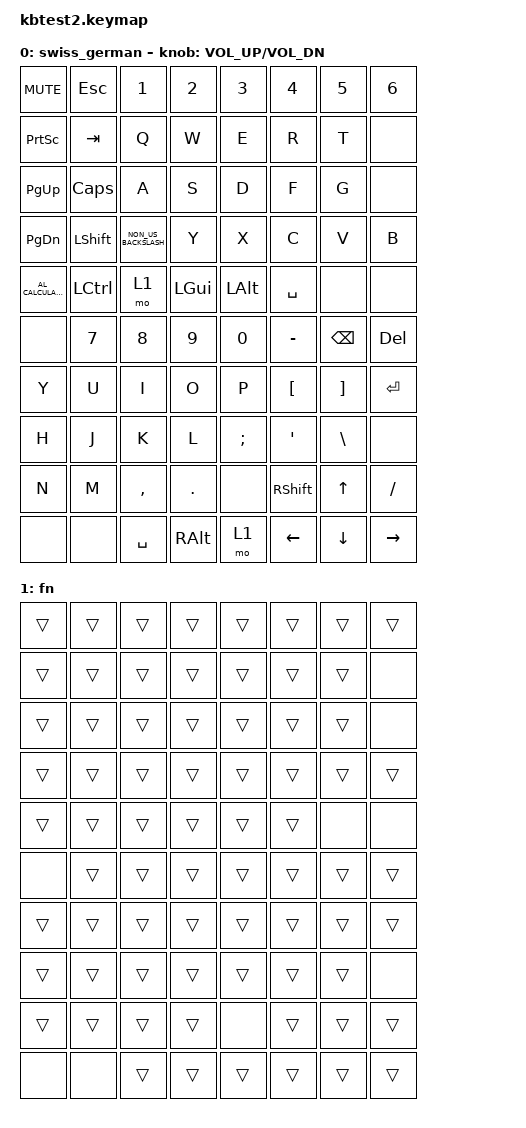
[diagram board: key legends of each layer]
#include <behaviors.dtsi>
#include <dt-bindings/zmk/keys.h>

/ {
    keymap {
        compatible = "zmk,keymap";

        swiss_german {
            // Windows Swiss German maps the HID Y position to Z.
            bindings = <
                &kp C_MUTE  &kp ESC  &kp N1  &kp N2  &kp N3  &kp N4  &kp N5  &kp N6
                &kp PRINTSCREEN  &kp TAB  &kp Q  &kp W  &kp E  &kp R  &kp T  &none
                &kp PG_UP  &kp CAPSLOCK  &kp A  &kp S  &kp D  &kp F  &kp G  &none
                &kp PG_DN  &kp LSHIFT  &kp NON_US_BACKSLASH  &kp Y  &kp X  &kp C  &kp V  &kp B
                &kp C_AL_CALCULATOR  &kp LCTRL  &mo 1  &kp LGUI  &kp LALT  &kp SPACE  &none  &none

                &none  &kp N7  &kp N8  &kp N9  &kp N0  &kp MINUS  &kp BSPC  &kp DEL
                &kp Y  &kp U  &kp I  &kp O  &kp P  &kp LBKT  &kp RBKT  &kp ENTER
                &kp H  &kp J  &kp K  &kp L  &kp SEMI  &kp APOS  &kp BACKSLASH  &none
                &kp N  &kp M  &kp COMMA  &kp DOT  &none  &kp RSHIFT  &kp UP  &kp SLASH
                &none  &none  &kp SPACE  &kp RALT  &mo 1  &kp LEFT  &kp DOWN  &kp RIGHT
            >;
            sensor-bindings = <&inc_dec_kp C_VOL_UP C_VOL_DN>;
        };

        fn {
            bindings = <
                &trans &trans &trans &trans &trans &trans &trans &trans
                &trans &trans &trans &trans &trans &trans &trans &none
                &trans &trans &trans &trans &trans &trans &trans &none
                &trans &trans &trans &trans &trans &trans &trans &trans
                &trans &trans &trans &trans &trans &trans &none &none

                &none  &trans  &trans  &trans  &trans  &trans  &trans  &trans
                &trans  &trans  &trans  &trans  &trans  &trans  &trans  &trans
                &trans  &trans  &trans  &trans  &trans  &trans  &trans  &none
                &trans  &trans  &trans  &trans  &none  &trans  &trans  &trans
                &none  &none  &trans  &trans  &trans  &trans  &trans  &trans
            >;
        };
    };
};
